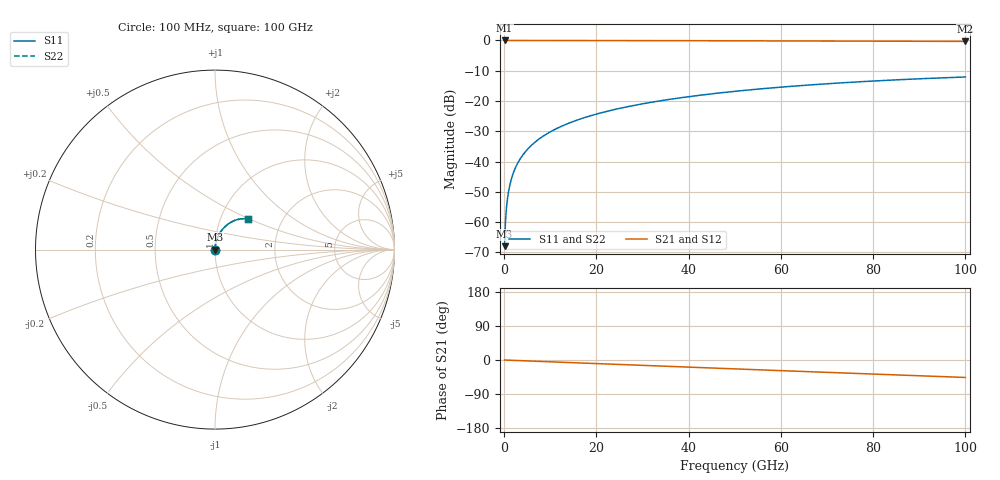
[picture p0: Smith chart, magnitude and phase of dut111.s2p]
! Touchstone file exported from HFSS 2026.1.0
!  File:  C:/ffzhzh/LocalFiles/Ansys_Project_Files/temp_train_TSV_111_1783505942_31944.aedt
!  Generated:  06:20:21 PM Jul  8, 2026
!  Design:  TSV
!  Project:  temp_train_TSV_111_1783505942_31944
! Variables:
!  h_bsmrdl = 2um
!  h_ox = 20um
!  h_rdl = 5um
!  h_sub = 85.57um
!  h_tmrdl = 5um
!  h_tsv = 85.57um
!  h_via = 3um
!  l_bsmrdl = 300um
!  l_sub = 415.48um
!  l_tmrdl = 200um
!  m_sub = 200um
!  pitch = 52.49um
!  r_tsv = 7.74um
!  s_tmrdl = 10um
!  w_bsmrdl = 18um
!  w_sub = 500um
!  w_tmrdl = 12um
!  x_tsv_center1 = 206um
!  x_tsv_center2 = 524um
!  x_tsv_center3 = 736um
!  x_tsv_center4 = 1054um
!  x_tsv_center5 = 1266um
!  x_tsv_center6 = 1584um
# GHz S MA R 50.000000
! Terminal data exported
! Port[1] = TSV1_1_T1
! Port[2] = TSV1_1_T2
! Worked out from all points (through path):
!   1000 points, 100 MHz to 100 GHz, reference 50 ohm
!   highest |S21| = 0.00 dB at 100 MHz (marker M1); lowest = -0.3 dB at 100 GHz (marker M2)
!   group delay of S21, straight-line fit = 1.28 ps
!   lowest |S11| = -67.9 dB at 100 MHz (marker M3), VSWR 1.00, Z = 50 + j0.035 ohm
!   |S11| at or under -10 dB: start of sweep to end of sweep
!   |S22| runs from -67.9 to -12.1 dB; largest |S21 - S12| = 5.5e-15
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0.1  0.0004017 60.6  0.9998 -0.1  0.9998 -0.1  0.0004017 60.6
! Gamma 0 0 0 0
! Port Impedance 50 0 50 0
0.3  0.001062 77.6  0.9998 -0.1  0.9998 -0.1  0.001062 77.6
0.7  0.002374 82.4  0.9997 -0.3  0.9997 -0.3  0.002374 82.4
0.8  0.002697 82.9  0.9997 -0.4  0.9997 -0.4  0.002697 82.9
1  0.003338 83.5  0.9996 -0.5  0.9996 -0.5  0.003338 83.5
1.3  0.004296 84.1  0.9996 -0.6  0.9996 -0.6  0.004296 84.1
1.7  0.005562 84.6  0.9995 -0.8  0.9995 -0.8  0.005562 84.6
2.3  0.007443 84.8  0.9994 -1.1  0.9994 -1.1  0.007443 84.8
3  0.009615 84.9  0.9993 -1.4  0.9993 -1.4  0.009615 84.9
3.8  0.01208 84.9  0.9992 -1.8  0.9992 -1.8  0.01208 84.9
4.8  0.01515 84.7  0.9991 -2.3  0.9991 -2.3  0.01515 84.8
6  0.01881 84.5  0.999 -2.9  0.999 -2.9  0.01881 84.5
8.8  0.02734 83.6  0.9986 -4.2  0.9986 -4.2  0.02734 83.6
12.4  0.03821 82.2  0.998 -5.9  0.998 -5.9  0.03821 82.2
16.8  0.05137 80.4  0.9972 -8.0  0.9972 -8.0  0.05137 80.4
24.2  0.07318 77.2  0.9956 -11.5  0.9956 -11.5  0.07318 77.2
33.4  0.09959 73.1  0.993 -15.8  0.993 -15.8  0.09959 73.1
41.2  0.1212 69.5  0.9904 -19.4  0.9904 -19.4  0.1212 69.5
50.1  0.1448 65.5  0.987 -23.5  0.987 -23.5  0.1448 65.5
66.7  0.1853 58.0  0.9799 -31.1  0.9799 -31.1  0.1853 58.0
83.4  0.2206 50.6  0.9723 -38.7  0.9723 -38.7  0.2206 50.6
100  0.2494 43.3  0.965 -46.1  0.965 -46.1  0.2494 43.3
